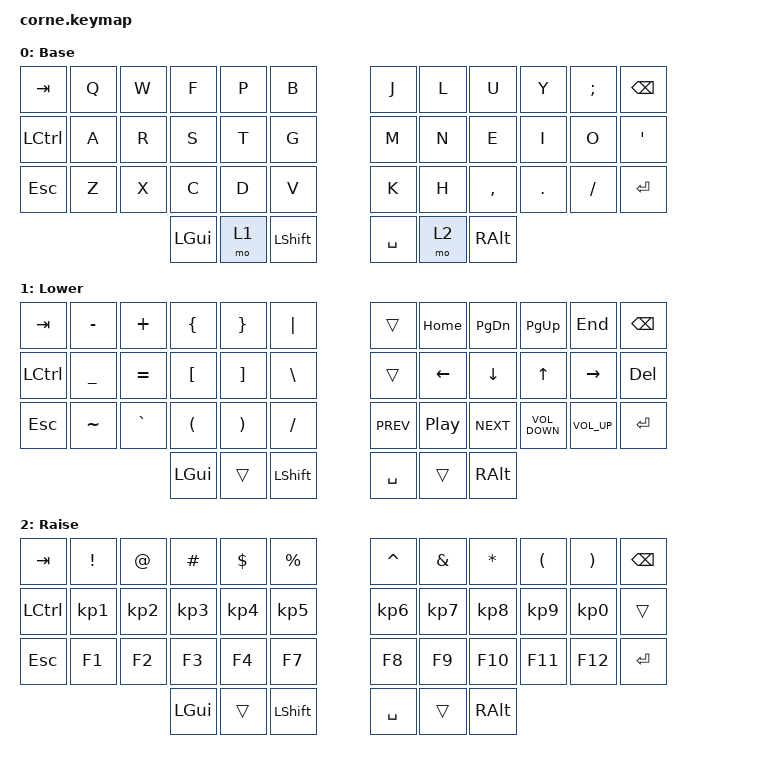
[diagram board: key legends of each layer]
/*
 * Copyright (c) 2020 The ZMK Contributors
 *
 * SPDX-License-Identifier: MIT
 */

#include <behaviors.dtsi>
#include <dt-bindings/zmk/keys.h>

/ {
    combos {
        compatible = "zmk,combos";

        esc {
            bindings = <&kp ESCAPE>;
            key-positions = <38 39>;
        };

        caps {
            bindings = <&caps_word>;
            key-positions = <24 35>;
        };
    };

    keymap {
        compatible = "zmk,keymap";

        default_layer {
            // -----------------------------------------------------------------------------------------
            // |  TAB |  Q  |  W  |  E  |  R  |  T  |   |  Y  |  U   |  I  |  O  |  P  | BKSP |
            // | CTRL |  A  |  S  |  D  |  F  |  G  |   |  H  |  J   |  K  |  L  |  ;  |  '   |
            // | SHFT |  Z  |  X  |  C  |  V  |  B  |   |  N  |  M   |  ,  |  .  |  /  | ESC  |
            //                    | GUI | LWR | SPC |   | ENT | RSE  | ALT |

            display-name = "Base";
            bindings = <
&kp TAB     &kp Q  &kp W  &kp F     &kp P  &kp B             &kp J      &kp L  &kp U      &kp Y    &kp SEMICOLON  &kp BSPC
&kp LCTRL   &kp A  &kp R  &kp S     &kp T  &kp G             &kp M      &kp N  &kp E      &kp I    &kp O          &kp SQT
&kp ESCAPE  &kp Z  &kp X  &kp C     &kp D  &kp V             &kp K      &kp H  &kp COMMA  &kp DOT  &kp FSLH       &kp RET
                          &kp LGUI  &mo 1  &kp LEFT_SHIFT    &kp SPACE  &mo 2  &kp RALT
            >;
        };

        lower_layer {
            // -----------------------------------------------------------------------------------------
            // |  TAB |  1  |  2  |  3  |  4  |  5  |   |  6  |  7  |  8  |  9  |  0  | BKSP |
            // | BTCLR| BT1 | BT2 | BT3 | BT4 | BT5 |   | LFT | DWN |  UP | RGT |     |      |
            // | SHFT |     |     |     |     |     |   |     |     |     |     |     |      |
            //                    | GUI |     | SPC |   | ENT |     | ALT |

            display-name = "Lower";
            bindings = <
&kp TAB           &kp MINUS       &kp PLUS   &kp LBRC          &kp RBRC               &kp PIPE          &trans      &kp HOME          &kp PAGE_DOWN  &kp PAGE_UP        &kp END       &kp BSPC
&kp LEFT_CONTROL  &kp UNDERSCORE  &kp EQUAL  &kp LEFT_BRACKET  &kp RIGHT_BRACKET      &kp BACKSLASH     &trans      &kp LEFT          &kp DOWN       &kp UP_ARROW       &kp RIGHT     &kp DELETE
&kp ESCAPE        &kp TILDE       &kp GRAVE  &kp LPAR          &kp RIGHT_PARENTHESIS  &kp FSLH          &kp C_PREV  &kp C_PLAY_PAUSE  &kp C_NEXT     &kp C_VOLUME_DOWN  &kp C_VOL_UP  &kp ENTER
                                             &kp LGUI          &trans                 &kp LEFT_SHIFT    &kp SPACE   &trans            &kp RALT
            >;
        };

        raise_layer {
            // -----------------------------------------------------------------------------------------
            // |  TAB |  !  |  @  |  #  |  $  |  %  |   |  ^  |  &  |  *  |  (  |  )  | BKSP |
            // | CTRL |     |     |     |     |     |   |  -  |  =  |  [  |  ]  |  \  |  `   |
            // | SHFT |     |     |     |     |     |   |  _  |  +  |  {  |  }  | "|" |  ~   |
            //                    | GUI |     | SPC |   | ENT |     | ALT |

            display-name = "Raise";
            bindings = <
&kp TAB    &kp EXCL         &kp AT           &kp HASH         &kp DLLR         &kp PRCNT          &kp CARET        &kp AMPS         &kp ASTERISK     &kp LPAR         &kp RPAR         &kp BSPC
&kp LCTRL  &kp KP_NUMBER_1  &kp KP_NUMBER_2  &kp KP_NUMBER_3  &kp KP_NUMBER_4  &kp KP_NUMBER_5    &kp KP_NUMBER_6  &kp KP_NUMBER_7  &kp KP_NUMBER_8  &kp KP_NUMBER_9  &kp KP_NUMBER_0  &trans
&kp ESC    &kp F1           &kp F2           &kp F3           &kp F4           &kp F7             &kp F8           &kp F9           &kp F10          &kp F11          &kp F12          &kp ENTER
                                             &kp LGUI         &trans           &kp LEFT_SHIFT     &kp SPACE        &trans           &kp RALT
            >;
        };
    };
};
